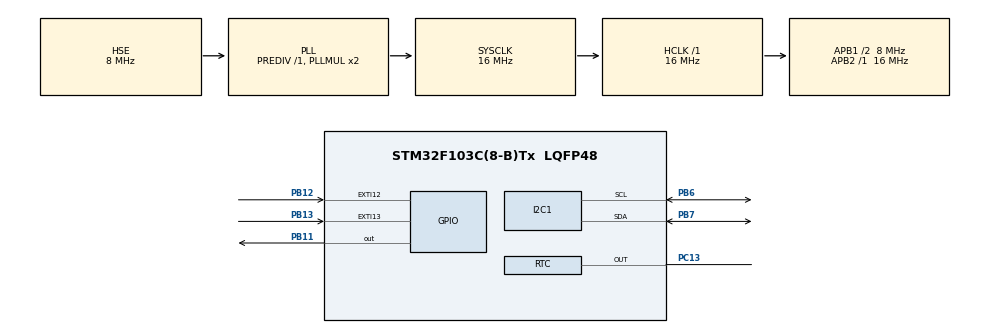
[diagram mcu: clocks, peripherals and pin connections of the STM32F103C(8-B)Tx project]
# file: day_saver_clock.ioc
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Mcu.Family=STM32F1
Mcu.Name=STM32F103C(8-B)Tx
Mcu.Package=LQFP48
NVIC.EXTI15_10_IRQn=true\:3\:0\:true\:false\:true\:true\:true
NVIC.I2C1_EV_IRQn=true\:0\:0\:false\:false\:true\:true\:true
NVIC.PriorityGroup=NVIC_PRIORITYGROUP_4
NVIC.RTC_Alarm_IRQn=true\:2\:0\:true\:false\:true\:true\:true
NVIC.RTC_IRQn=true\:1\:0\:true\:false\:true\:true\:true
PA13.Mode=Serial_Wire
PA13.Signal=SYS_JTMS-SWDIO
PA14.Mode=Serial_Wire
PA14.Signal=SYS_JTCK-SWCLK
PB11.GPIO_ModeDefaultOutputPP=GPIO_MODE_OUTPUT_PP
PB11.PinState=GPIO_PIN_RESET
PB11.Signal=GPIO_Output
PB12.GPIO_ModeDefaultEXTI=GPIO_MODE_IT_RISING
PB12.Signal=GPXTI12
PB13.GPIO_ModeDefaultEXTI=GPIO_MODE_IT_RISING
PB13.Signal=GPXTI13
PB6.Mode=I2C
PB6.Signal=I2C1_SCL
PB7.Mode=I2C
PB7.Signal=I2C1_SDA
PC13-TAMPER-RTC.Mode=RTC OUT
PC13-TAMPER-RTC.Signal=RTC_OUT
PD0-OSC_IN.Mode=HSE-External-Oscillator
PD0-OSC_IN.Signal=RCC_OSC_IN
PD1-OSC_OUT.Mode=HSE-External-Oscillator
PD1-OSC_OUT.Signal=RCC_OSC_OUT
ProjectManager.HeapSize=0x200
ProjectManager.StackSize=0x400
ProjectManager.TargetToolchain=MDK-ARM V5.27
RCC.AHBFreq_Value=16000000
RCC.APB1CLKDivider=RCC_HCLK_DIV2
RCC.APB1Freq_Value=8000000
RCC.APB1TimFreq_Value=16000000
RCC.APB2Freq_Value=16000000
RCC.APB2TimFreq_Value=16000000
RCC.HCLKFreq_Value=16000000
RCC.PLLSourceVirtual=RCC_PLLSOURCE_HSE
RCC.RTCClockSelection=RCC_RTCCLKSOURCE_HSE_DIV128
RCC.SYSCLKFreq_VALUE=16000000
RCC.SYSCLKSource=RCC_SYSCLKSOURCE_PLLCLK
RCC.USBFreq_Value=16000000
RTC.Date=15
RTC.Format=RTC_FORMAT_BIN
RTC.Hours=11
RTC.Minutes=10
RTC.Month=RTC_MONTH_APRIL
RTC.Year=24
VP_RTC_VS_RTC_Activate.Mode=RTC_Enabled
VP_RTC_VS_RTC_Calendar.Mode=RTC_Calendar
board=custom

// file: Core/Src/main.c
/* USER CODE BEGIN Header */
/**
  ******************************************************************************
  * @file           : main.c
  * @brief          : Main program body
  ******************************************************************************
  * @attention
  *
  * <h2><center>&copy; Copyright (c) 2024 STMicroelectronics.
  * All rights reserved.</center></h2>
  *
  * This software component is licensed by ST under BSD 3-Clause license,
  * the "License"; You may not use this file except in compliance with the
  * License. You may obtain a copy of the License at:
  *                        opensource.org/licenses/BSD-3-Clause
  *
  ******************************************************************************
  */
/* USER CODE END Header */
#include "main.h"
#include "i2c.h"
#include "rtc.h"
#include "gpio.h"

/* USER CODE BEGIN Includes */
#include "ssd1306.h"
#include "ssd1306_font.h"
#include <stdbool.h>
/* USER CODE END Includes */

/* USER CODE BEGIN PTD */
enum ButtonState
{
	BUTTON_DEFAULT,
	BUTTON_HOUR_CONTROL,
	BUTTON_MINUTE_CONTROL,
	BUTTON_SET_ALARM,

	BUTTON_SET_CLOCK_HOUR,
	BUTTON_SET_CLOCK_MINUTE,
	BUTTON_SET_CLOCK
};
/* USER CODE END PTD */

/* USER CODE BEGIN PV */
uint8_t hour, minute = 0;
char display_buffer[20];

RTC_TimeTypeDef myTime;

uint8_t alarm_hour, alarm_minute = 0;

enum ButtonState button_state = BUTTON_DEFAULT;
char button_state_str[20];

uint8_t test = 0;
uint8_t if_test[4];

bool alarm_flag = false;
bool alarm_on = true;
/* USER CODE END PV */

void SystemClock_Config(void);
/* USER CODE BEGIN PFP */
void write_clock_state();

/* USER CODE END PFP */

int main(void)
{

  /* MCU Configuration--------------------------------------------------------*/

  /* Reset of all peripherals, Initializes the Flash interface and the Systick. */
  HAL_Init();

  /* Configure the system clock */
  SystemClock_Config();

  /* Initialize all configured peripherals */
  MX_GPIO_Init();
  MX_I2C1_Init();
  MX_RTC_Init();
  /* USER CODE BEGIN 2 */
	ssd1306_init();
	ssd1306_black_screen();

  /* USER CODE END 2 */

  /* Infinite loop */
  while (1)
  {

    /* USER CODE BEGIN 3 */
		//CHECK ALARM
		HAL_RTC_GetTime(&hrtc, &myTime, RTC_FORMAT_BIN);

		if(button_state == BUTTON_DEFAULT)
			sprintf(display_buffer, "%d:%d:%d     ", myTime.Hours, myTime.Minutes, myTime.Seconds);

		else
			sprintf(display_buffer, "%d : %d      ", hour, minute);

		alarm_flag = ((myTime.Hours == alarm_hour) && (myTime.Minutes == alarm_minute));

		if(alarm_flag && alarm_on)
		{
			sprintf(display_buffer, "! ALARM !     ");
			//Alarm beeping
			HAL_GPIO_WritePin(GPIOB, GPIO_PIN_11, GPIO_PIN_RESET);
			HAL_Delay(1250);
			HAL_GPIO_WritePin(GPIOB, GPIO_PIN_11, GPIO_PIN_SET);
			HAL_Delay(250);
		}
		else
		{
			HAL_GPIO_WritePin(GPIOB, GPIO_PIN_11, GPIO_PIN_RESET); //turns off the alarm
		}

		ssd1306_set_cursor(5, 10);
		ssd1306_write_string(font11x18, display_buffer);
		ssd1306_set_cursor(5, 40);
	  write_clock_state();
		ssd1306_write_string(font11x18, button_state_str);
		ssd1306_update_screen();
		HAL_Delay(10);
  }
}
//_______________________________________________________________________________
//_______________________________________________________________________________

void HAL_GPIO_EXTI_Callback(uint16_t GPIO_Pin)
{

	if(GPIO_Pin == GPIO_PIN_12) //pb12 -> minute and hour
	{
		if(HAL_GPIO_ReadPin(GPIOB, GPIO_PIN_13) == GPIO_PIN_SET)  //double button
		{	alarm_on = false; HAL_Delay(100);}

		else
		{
			if(button_state == BUTTON_HOUR_CONTROL || button_state == BUTTON_SET_CLOCK_HOUR)
			{
				if(hour < 23)
					hour += 1;
				else
					hour = 0;
			}
			else if(button_state == BUTTON_MINUTE_CONTROL || button_state == BUTTON_SET_CLOCK_MINUTE)
			{
			if(minute < 55)
				minute += 5;
			else
				minute = 0;
		  }
			else if(button_state == BUTTON_SET_ALARM)
			{
				button_state = BUTTON_SET_CLOCK_HOUR;
			}
	  }
		HAL_Delay(50);
	}//pb12

	if(GPIO_Pin == GPIO_PIN_13)  //pb13 -> mode selector
	{
		if(HAL_GPIO_ReadPin(GPIOB, GPIO_PIN_12) == GPIO_PIN_SET)  //double button
		{	alarm_on = false; HAL_Delay(100);}

		else
		{
			if(button_state == BUTTON_DEFAULT)
				button_state = BUTTON_HOUR_CONTROL;

			else if(button_state == BUTTON_HOUR_CONTROL)
				button_state = BUTTON_MINUTE_CONTROL;

			else if(button_state == BUTTON_MINUTE_CONTROL)
				button_state = BUTTON_SET_ALARM;

			else if(button_state == BUTTON_SET_ALARM)
			{
				alarm_hour = hour;
				alarm_minute = minute;
				button_state = BUTTON_DEFAULT;
				alarm_on = true;
			}

			else if(button_state == BUTTON_SET_CLOCK_HOUR)
				button_state = BUTTON_SET_CLOCK_MINUTE;

			else if(button_state == BUTTON_SET_CLOCK_MINUTE)
				button_state = BUTTON_SET_CLOCK;

			else if(button_state == BUTTON_SET_CLOCK)
			{
				// config the clock
				RTC_TimeTypeDef sTime = {0};
				sTime.Hours = hour;
				sTime.Minutes = minute;
				sTime.Seconds = 0;
				HAL_RTC_SetTime(&hrtc, &sTime, RTC_FORMAT_BIN);
				button_state = BUTTON_DEFAULT;
			}

		}

		HAL_Delay(50);
	}
}

void write_clock_state()
{
		if(button_state == BUTTON_DEFAULT)
			sprintf(button_state_str, "Time, %d   ", (uint8_t)alarm_on);
		else if(button_state == BUTTON_HOUR_CONTROL)
			sprintf(button_state_str, "Set Alarm H");
		else if(button_state == BUTTON_MINUTE_CONTROL)
			sprintf(button_state_str, "Set Alarm M");
		else if(button_state == BUTTON_SET_ALARM)
			sprintf(button_state_str, "Alarm Set! ");

		else if(button_state == BUTTON_SET_CLOCK)
			sprintf(button_state_str, "Clock Set! ");
		else if(button_state == BUTTON_SET_CLOCK_HOUR)
			sprintf(button_state_str, "Set Clock H");
		else if(button_state == BUTTON_SET_CLOCK_MINUTE)
			sprintf(button_state_str, "Set Clock M");
}

  /* USER CODE END 3 */

void SystemClock_Config(void)
{
  RCC_OscInitTypeDef RCC_OscInitStruct = {0};
  RCC_ClkInitTypeDef RCC_ClkInitStruct = {0};
  RCC_PeriphCLKInitTypeDef PeriphClkInit = {0};

  /** Initializes the RCC Oscillators according to the specified parameters
  * in the RCC_OscInitTypeDef structure.
  */
  RCC_OscInitStruct.OscillatorType = RCC_OSCILLATORTYPE_HSE;
  RCC_OscInitStruct.HSEState = RCC_HSE_ON;
  RCC_OscInitStruct.HSEPredivValue = RCC_HSE_PREDIV_DIV1;
  RCC_OscInitStruct.HSIState = RCC_HSI_ON;
  RCC_OscInitStruct.PLL.PLLState = RCC_PLL_ON;
  RCC_OscInitStruct.PLL.PLLSource = RCC_PLLSOURCE_HSE;
  RCC_OscInitStruct.PLL.PLLMUL = RCC_PLL_MUL2;
  if (HAL_RCC_OscConfig(&RCC_OscInitStruct) != HAL_OK)
  {
    Error_Handler();
  }
  /** Initializes the CPU, AHB and APB buses clocks
  */
  RCC_ClkInitStruct.ClockType = RCC_CLOCKTYPE_HCLK|RCC_CLOCKTYPE_SYSCLK
                              |RCC_CLOCKTYPE_PCLK1|RCC_CLOCKTYPE_PCLK2;
  RCC_ClkInitStruct.SYSCLKSource = RCC_SYSCLKSOURCE_PLLCLK;
  RCC_ClkInitStruct.AHBCLKDivider = RCC_SYSCLK_DIV1;
  RCC_ClkInitStruct.APB1CLKDivider = RCC_HCLK_DIV2;
  RCC_ClkInitStruct.APB2CLKDivider = RCC_HCLK_DIV1;

  if (HAL_RCC_ClockConfig(&RCC_ClkInitStruct, FLASH_LATENCY_0) != HAL_OK)
  {
    Error_Handler();
  }
  PeriphClkInit.PeriphClockSelection = RCC_PERIPHCLK_RTC;
  PeriphClkInit.RTCClockSelection = RCC_RTCCLKSOURCE_HSE_DIV128;
  if (HAL_RCCEx_PeriphCLKConfig(&PeriphClkInit) != HAL_OK)
  {
    Error_Handler();
  }
}

void Error_Handler(void)
{
}

/************************ (C) COPYRIGHT STMicroelectronics *****END OF FILE****/
